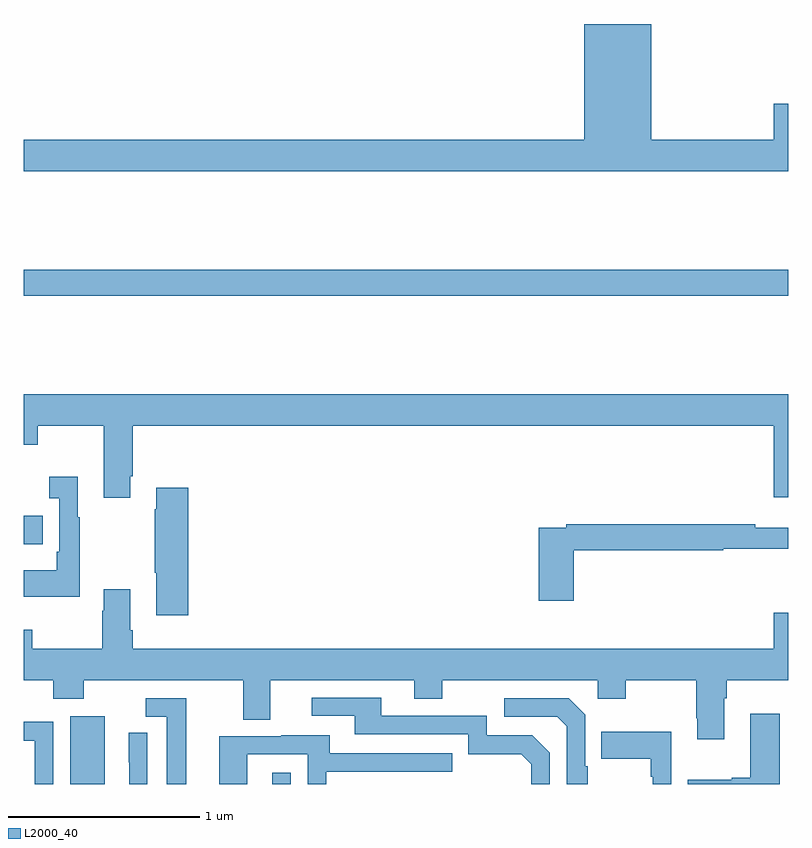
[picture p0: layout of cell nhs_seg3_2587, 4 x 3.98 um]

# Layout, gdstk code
import gdstk
lib = gdstk.Library(unit=1e-6, precision=1e-09)
def R(c, l, rs):  # rectangles x0, y0, x1, y1
    for r in rs: c.add(gdstk.rectangle(r[:2], r[2:], *l))
def P(c, l, *ps):  # polygons
    for p in ps: c.add(gdstk.Polygon(p, *l))
L2000_40 = (2000, 40)

nhs_seg3_2587 = lib.new_cell('nhs_seg3_2587')
R(nhs_seg3_2587, L2000_40, [(245.243,672.4,245.422,672.754), (246.299,672.4,246.396,672.46), (245,673.655,245.099,673.803), (245,674.956,249,675.092)])
P(nhs_seg3_2587, L2000_40, [(249,675.961),(248.924,675.961),(248.924,675.772),(248.284,675.772),(248.284,676.378),(247.934,676.378),(247.934,675.772),(245,675.772),(245,675.608),(249,675.608)],
  [(245.557,674.011),(245.57,674.011),(245.57,674.276),(248.924,674.276),(248.924,673.902),(249,673.902),(249,674.44),(245,674.44),(245,674.177),(245.073,674.177),(245.073,674.276),(245.417,674.276),(245.417,673.899),(245.557,673.899)],
  [(245.293,673.795),(245.281,673.795),(245.281,674.008),(245.133,674.008),(245.133,673.895),(245.184,673.895),(245.184,673.615),(245.172,673.615),(245.172,673.519),(245,673.519),(245,673.379),(245.293,673.379)],
  [(245.861,673.951),(245.693,673.951),(245.693,673.838),(245.686,673.838),(245.686,673.507),(245.693,673.507),(245.693,673.284),(245.861,673.284)],
  [(247.877,673.624),(248.66,673.624),(248.66,673.632),(249,673.632),(249,673.741),(248.828,673.741),(248.828,673.76),(247.84,673.76),(247.84,673.74),(247.694,673.74),(247.694,673.359),(247.877,673.359)],
  [(248.665,672.848),(248.678,672.848),(248.678,672.944),(249,672.944),(249,673.297),(248.924,673.297),(248.924,673.108),(245.57,673.108),(245.57,673.204),(245.557,673.204),(245.557,673.42),(245.417,673.42),(245.417,673.307),(245.41,673.307),(245.41,673.108),(245.043,673.108),(245.043,673.207),(245,673.207),(245,672.944),(245.153,672.944),(245.153,672.845),(245.313,672.845),(245.313,672.944),(246.149,672.944),(246.149,672.736),(246.289,672.736),(246.289,672.944),(247.043,672.944),(247.043,672.845),(247.191,672.845),(247.191,672.944),(248.004,672.944),(248.004,672.845),(248.151,672.845),(248.151,672.944),(248.518,672.944),(248.518,672.745),(248.525,672.745),(248.525,672.633),(248.665,672.633)],
  [(247.752,672.564),(247.662,672.654),(247.422,672.654),(247.422,672.756),(246.871,672.756),(246.871,672.852),(246.507,672.852),(246.507,672.756),(246.731,672.756),(246.731,672.66),(247.326,672.66),(247.326,672.557),(247.603,672.557),(247.656,672.504),(247.656,672.4),(247.752,672.4)],
  [(247.951,672.493),(247.938,672.493),(247.938,672.762),(247.851,672.849),(247.515,672.849),(247.515,672.753),(247.791,672.753),(247.842,672.702),(247.842,672.4),(247.951,672.4)],
  [(245.851,672.849),(245.637,672.849),(245.637,672.753),(245.747,672.753),(245.747,672.4),(245.851,672.4)],
  [(248.956,672.769),(248.801,672.769),(248.801,672.434),(248.705,672.434),(248.705,672.421),(248.475,672.421),(248.475,672.4),(248.956,672.4)],
  [(245.154,672.726),(245,672.726),(245,672.627),(245.058,672.627),(245.058,672.4),(245.154,672.4)],
  [(248.388,672.673),(248.023,672.673),(248.023,672.533),(248.28,672.533),(248.28,672.437),(248.292,672.437),(248.292,672.4),(248.388,672.4)],
  [(245.646,672.668),(245.55,672.668),(245.55,672.514),(245.552,672.514),(245.552,672.4),(245.646,672.4)],
  [(246.168,672.555),(246.486,672.555),(246.486,672.4),(246.582,672.4),(246.582,672.465),(247.241,672.465),(247.241,672.561),(246.601,672.561),(246.601,672.655),(246.347,672.655),(246.347,672.651),(246.023,672.651),(246.023,672.4),(246.168,672.4)])

lib.write_gds('nhs_seg3_2587.gds')
